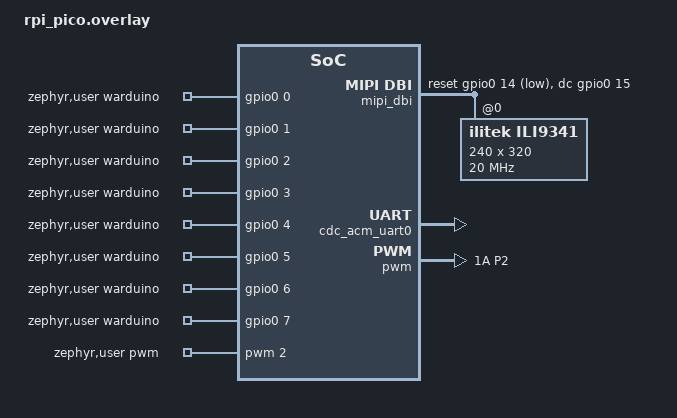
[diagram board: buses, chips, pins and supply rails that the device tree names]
#include <zephyr/dt-bindings/display/panel.h>

#include "../app.overlay"

/ {
    chosen {
        zephyr,console = &cdc_acm_uart0;
    };
};

&zephyr_udc0 {
    cdc_acm_uart0: cdc_acm_uart0 {
        compatible = "zephyr,cdc-acm-uart";
    };
};

/ {
    zephyr,user {
        warduino-gpios =
            <&gpio0 0 0>,
            <&gpio0 1 0>,
            <&gpio0 2 0>,
            <&gpio0 3 0>,
            <&gpio0 4 0>,
            <&gpio0 5 0>,
            <&gpio0 6 0>,
            <&gpio0 7 0>,
            <&gpio0 8 0>,
            <&gpio0 9 0>,
            <&gpio0 10 0>,
            <&gpio0 11 0>,
            <&gpio0 12 0>,
            <&gpio0 13 0>,
            <&gpio0 14 0>,
            <&gpio0 15 0>,
            <&gpio0 16 0>,
            <&gpio0 17 0>,
            <&gpio0 18 0>,
            <&gpio0 19 0>,
            <&gpio0 20 0>,
            <&gpio0 21 0>,
            <&gpio0 22 0>,
            <&gpio0 23 0>,
            <&gpio0 24 0>,
            <&gpio0 25 0>,
            <&gpio0 26 0>,
            <&gpio0 27 0>,
            <&gpio0 28 0>,
            <&gpio0 29 0>;

        pwms = < &pwm 2 PWM_USEC(1500) PWM_POLARITY_NORMAL >;
     };
};

/ {
    chosen {
        zephyr,display = &ili9341;
    };
    mipi_dbi {
        compatible = "zephyr,mipi-dbi-spi";
        spi-dev = <&spi0>;
        dc-gpios = <&gpio0 15 GPIO_ACTIVE_HIGH>;
        reset-gpios = <&gpio0 14 GPIO_ACTIVE_LOW>;
        #address-cells = <1>;
        #size-cells = <0>;
        ili9341: ili9341@0 {
            compatible = "ilitek,ili9341";
            reg = <0>;
            mipi-max-frequency = <20000000>;
            mipi-mode = "MIPI_DBI_MODE_SPI_4WIRE";
            width = <240>;
            height = <320>;
            pixel-format = <PANEL_PIXEL_FORMAT_RGB_565>;
            rotation = <0>;
            status = "okay";
            h-mirror;
        };
    };
};

&pinctrl {
    pwm_ch1a_default: pwm_ch1a_default {
        group1 {
            pinmux = <PWM_1A_P2>; // Channel 1 A, 1 * 1 + 1 = 2, &pwm 2 in pwms
        };
    };
};

&pwm {
    status="okay";
    divider-int-4 = <255>;
    pinctrl-0 = < &pwm_ch1a_default >;
};
